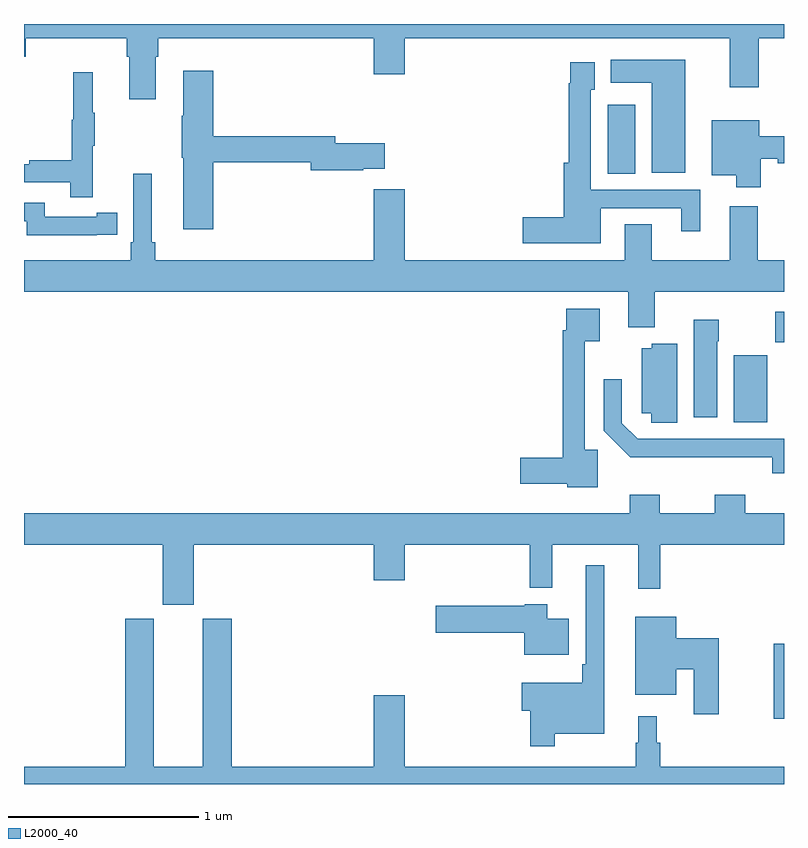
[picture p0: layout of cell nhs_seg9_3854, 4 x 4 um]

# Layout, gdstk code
import gdstk
lib = gdstk.Library(unit=1e-6, precision=1e-09)
def R(c, l, rs):  # rectangles x0, y0, x1, y1
    for r in rs: c.add(gdstk.rectangle(r[:2], r[2:], *l))
def P(c, l, *ps):  # polygons
    for p in ps: c.add(gdstk.Polygon(p, *l))
L2000_40 = (2000, 40)

nhs_seg9_3854 = lib.new_cell('nhs_seg9_3854')
R(nhs_seg9_3854, L2000_40, [(334.945,1188.843,335,1189.237), (334.955,1190.826,335,1190.986), (334.073,1191.712,334.216,1192.075)])
P(nhs_seg9_3854, L2000_40, [(331.693,1192.328),(331.706,1192.328),(331.706,1192.424),(332.84,1192.424),(332.84,1192.236),(333.004,1192.236),(333.004,1192.424),(334.715,1192.424),(334.715,1192.167),(334.868,1192.167),(334.868,1192.424),(335,1192.424),(335,1192.5),(331,1192.5),(331,1192.328),(331.01,1192.328),(331.01,1192.424),(331.541,1192.424),(331.541,1192.328),(331.553,1192.328),(331.553,1192.104),(331.693,1192.104)],
  [(334.48,1192.312),(334.088,1192.312),(334.088,1192.19),(334.304,1192.19),(334.304,1191.716),(334.48,1191.716)],
  [(334.036,1191.531),(334.46,1191.531),(334.46,1191.408),(334.558,1191.408),(334.558,1191.627),(333.984,1191.627),(333.984,1192.155),(334.003,1192.155),(334.003,1192.3),(333.876,1192.3),(333.876,1192.187),(333.868,1192.187),(333.868,1191.769),(333.842,1191.769),(333.842,1191.482),(333.624,1191.482),(333.624,1191.347),(334.036,1191.347)],
  [(331.997,1191.772),(332.51,1191.772),(332.51,1191.73),(332.786,1191.73),(332.786,1191.737),(332.899,1191.737),(332.899,1191.872),(332.638,1191.872),(332.638,1191.908),(331.997,1191.908),(331.997,1192.255),(331.838,1192.255),(331.838,1192.016),(331.831,1192.016),(331.831,1191.795),(331.838,1191.795),(331.838,1191.42),(331.997,1191.42)],
  [(331.361,1191.859),(331.372,1191.859),(331.372,1192.033),(331.361,1192.033),(331.361,1192.246),(331.258,1192.246),(331.258,1191.996),(331.251,1191.996),(331.251,1191.782),(331.027,1191.782),(331.027,1191.762),(331,1191.762),(331,1191.666),(331.243,1191.666),(331.243,1191.588),(331.361,1191.588)],
  [(334.878,1191.79),(334.966,1191.79),(334.966,1191.768),(335,1191.768),(335,1191.908),(334.87,1191.908),(334.87,1191.994),(334.619,1191.994),(334.619,1191.704),(334.748,1191.704),(334.748,1191.642),(334.878,1191.642)],
  [(334.181,1190.903),(334.321,1190.903),(334.321,1191.092),(335,1191.092),(335,1191.256),(334.863,1191.256),(334.863,1191.541),(334.715,1191.541),(334.715,1191.256),(334.303,1191.256),(334.303,1191.446),(334.163,1191.446),(334.163,1191.256),(333.004,1191.256),(333.004,1191.631),(332.84,1191.631),(332.84,1191.256),(331.691,1191.256),(331.691,1191.352),(331.672,1191.352),(331.672,1191.712),(331.575,1191.712),(331.575,1191.352),(331.562,1191.352),(331.562,1191.256),(331,1191.256),(331,1191.092),(334.181,1191.092)],
  [(331.382,1191.39),(331.49,1191.39),(331.49,1191.506),(331.382,1191.506),(331.382,1191.486),(331.11,1191.486),(331.11,1191.558),(331,1191.558),(331,1191.462),(331.014,1191.462),(331.014,1191.389),(331.382,1191.389)],
  [(334.02,1190.259),(333.951,1190.259),(333.951,1190.831),(334.03,1190.831),(334.03,1191.001),(333.855,1191.001),(333.855,1190.888),(333.835,1190.888),(333.835,1190.216),(333.612,1190.216),(333.612,1190.081),(333.858,1190.081),(333.858,1190.063),(334.02,1190.063)],
  [(334.648,1190.831),(334.656,1190.831),(334.656,1190.944),(334.526,1190.944),(334.526,1190.43),(334.648,1190.43)],
  [(334.438,1190.818),(334.305,1190.818),(334.305,1190.794),(334.25,1190.794),(334.25,1190.451),(334.302,1190.451),(334.302,1190.401),(334.438,1190.401)],
  [(334.912,1190.654),(334.911,1190.654),(334.911,1190.757),(334.736,1190.757),(334.736,1190.405),(334.912,1190.405)],
  [(335,1190.316),(334.23,1190.316),(334.146,1190.4),(334.146,1190.629),(334.05,1190.629),(334.05,1190.36),(334.191,1190.219),(334.937,1190.219),(334.937,1190.136),(335,1190.136)],
  [(331.894,1189.76),(332.84,1189.76),(332.84,1189.572),(333.004,1189.572),(333.004,1189.76),(333.661,1189.76),(333.661,1189.532),(333.779,1189.532),(333.779,1189.76),(334.232,1189.76),(334.232,1189.527),(334.349,1189.527),(334.349,1189.76),(335,1189.76),(335,1189.924),(334.796,1189.924),(334.796,1190.023),(334.636,1190.023),(334.636,1189.924),(334.347,1189.924),(334.347,1190.023),(334.187,1190.023),(334.187,1189.924),(331,1189.924),(331,1189.76),(331.73,1189.76),(331.73,1189.443),(331.894,1189.443)],
  [(333.793,1188.764),(334.054,1188.764),(334.054,1189.651),(333.957,1189.651),(333.957,1189.129),(333.937,1189.129),(333.937,1189.033),(333.62,1189.033),(333.62,1188.886),(333.664,1188.886),(333.664,1188.699),(333.793,1188.699)],
  [(333.868,1189.369),(333.754,1189.369),(333.754,1189.447),(333.636,1189.447),(333.636,1189.437),(333.168,1189.437),(333.168,1189.295),(333.632,1189.295),(333.632,1189.181),(333.868,1189.181)],
  [(334.656,1189.268),(334.432,1189.268),(334.432,1189.381),(334.217,1189.381),(334.217,1188.971),(334.432,1188.971),(334.432,1189.103),(334.526,1189.103),(334.526,1188.867),(334.656,1188.867)],
  [(335,1188.592),(334.349,1188.592),(334.349,1188.716),(334.331,1188.716),(334.331,1188.856),(334.232,1188.856),(334.232,1188.716),(334.221,1188.716),(334.221,1188.592),(333.004,1188.592),(333.004,1188.967),(332.84,1188.967),(332.84,1188.592),(332.093,1188.592),(332.093,1189.371),(331.94,1189.371),(331.94,1188.592),(331.684,1188.592),(331.684,1189.371),(331.532,1189.371),(331.532,1188.592),(331,1188.592),(331,1188.5),(335,1188.5)])

lib.write_gds('nhs_seg9_3854.gds')
